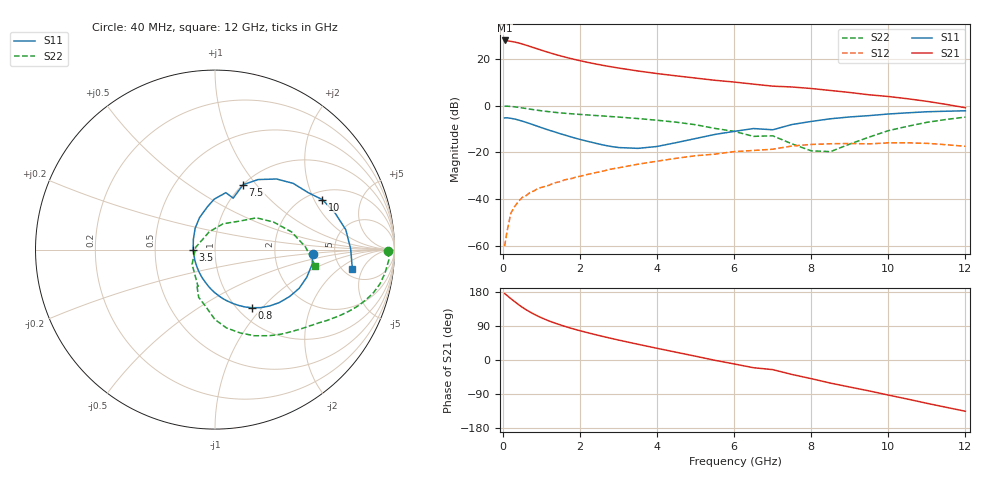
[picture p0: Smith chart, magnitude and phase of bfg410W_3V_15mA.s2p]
! Filename: 315bfg410.001
! BFG410W Field B1
! V1=8.769E-001V,V2=3.000E+000V, I1=2.312E-004A, I2=1.500E-002A
# GHz  S  MA  R 50
!  S11  S21  S12  S22
!Freq(GHz)  Mag  Ang  Mag  Ang  Mag  Ang  Mag  Ang
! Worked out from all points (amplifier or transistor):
!   44 points, 40 MHz to 12 GHz, reference 50 ohm
!   highest |S21| = 27.8 dB at 40 MHz (marker M1)
!   |S21| within 3 dB of that: start of sweep to 779.9 MHz
!   unconditionally stable (mu >= 1): start of sweep to 46.97 MHz; 1.555 GHz to end of sweep
!   at 700 MHz: K = 0.62, MSG = 31.1 dB, |S12| = -37.1 dB
!   at 2.4 GHz: K = 1.17, MAG = 20.7 dB, |S12| = -28.6 dB
!   at 12 GHz: K = 1.49, MAG = 4.1 dB, |S12| = -17.4 dB
!   S11 on the Smith chart (normalised r, x): 40 MHz: 3.36, -0.26; 800 MHz: 1.16, -0.88; 3.5 GHz: 0.78, -0.00; 7.5 GHz: 1.00, +0.86; 10 GHz: 2.36, +2.33; 12 GHz: 6.01, -3.25
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0.04  0.544 -2.9  24.44 175.3  0.001 73.5  0.966 -0.5
0.2  0.534 -16.8  23.41 162.0  0.005 80.9  0.956 -7.9
0.3  0.516 -24.8  22.61 154.2  0.007 78.2  0.939 -11.7
0.4  0.491 -32.2  21.63 146.3  0.009 74.5  0.915 -15.2
0.5  0.464 -39.5  20.5 139.0  0.011 71.7  0.888 -18.2
0.6  0.437 -46.0  19.35 132.5  0.012 69.9  0.863 -20.9
0.8  0.384 -57.5  17.09 121.0  0.015 66.7  0.814 -25.4
1  0.337 -67.2  15.11 111.2  0.018 64.6  0.772 -29.1
1.1  0.316 -71.7  14.23 106.9  0.019 63.7  0.754 -30.7
1.4  0.264 -83.9  12.02 95.5  0.023 62.0  0.708 -35.2
1.8  0.21 -99.4  9.861 82.8  0.028 60.0  0.665 -40.7
2.2  0.172 -114.7  8.324 71.9  0.034 57.8  0.629 -46.3
2.8  0.134 -141.8  6.713 57.2  0.044 53.4  0.582 -54.8
3.5  0.122 -179.7  5.459 41.5  0.056 46.6  0.528 -65.4
4.5  0.162 133.2  4.29 20.3  0.075 34.1  0.441 -81.7
5.5  0.242 100.1  3.454 -0.9  0.092 18.8  0.325 -98.6
6.5  0.323 79.2  2.859 -20.4  0.11 4.6  0.22 -117.5
7.5  0.394 66.6  2.486 -38.2  0.137 -6.7  0.152 -147.2
8.5  0.522 48.9  2.094 -61.0  0.153 -29.6  0.104 108.3
10  0.66 25.0  1.559 -92.5  0.16 -59.5  0.291 37.5
10.5  0.699 17.0  1.396 -103.2  0.16 -70.0  0.361 25.1
12  0.773 -8.1  0.898 -135.3  0.135 -107.8  0.567 -9.3
